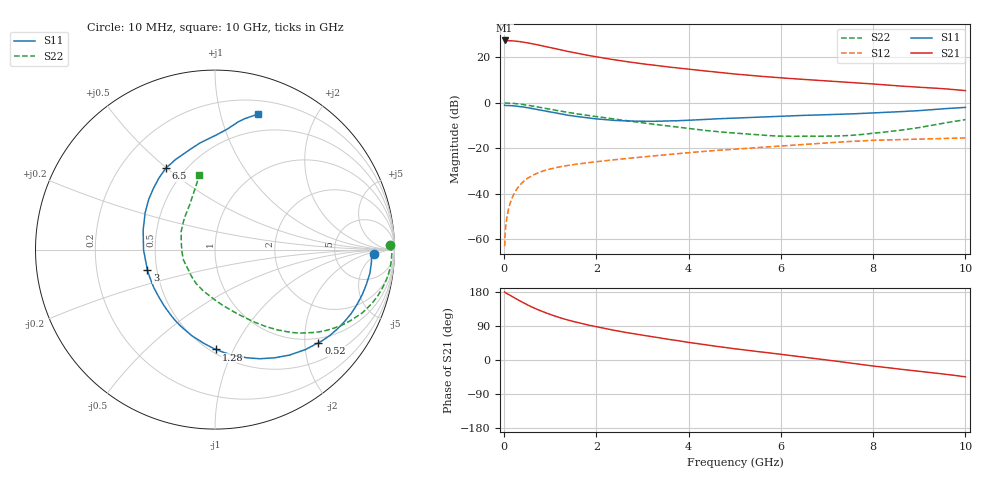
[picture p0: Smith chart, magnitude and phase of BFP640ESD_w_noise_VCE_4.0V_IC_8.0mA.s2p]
! Infineon Technologies  Discrete & RF Semiconductors
! BFP640ESD
! VCE =  4.0 V,  IC =  8.0 mA
! Common Emitter S-Parameters:  Jan 2016
# GHz  S  MA  R  50
!  f  S11  S21  S12  S22
! GHz  MAG  ANG  MAG  ANG  MAG  ANG  MAG  ANG
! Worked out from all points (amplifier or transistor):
!   233 points, 10 MHz to 10 GHz, reference 50 ohm
!   highest |S21| = 27.4 dB at 10 MHz (marker M1)
!   |S21| within 3 dB of that: start of sweep to 969.7 MHz
!   unconditionally stable (mu >= 1): start of sweep to 14.61 MHz; 4.284 GHz to 8.851 GHz
!   at 200 MHz: K = 0.16, MSG = 33.9 dB, |S12| = -40.6 dB
!   at 1.74 GHz: K = 0.63, MSG = 23.9 dB, |S12| = -26.6 dB
!   at 10 GHz: K = 0.85, MSG = 10.4 dB, |S12| = -15.5 dB
!   lowest NFmin = 0.63 dB at 450 MHz
!   S11 on the Smith chart (normalised r, x): 10 MHz: 15, -4; 520 MHz: 0.89, -2.31; 1.28 GHz: 0.53, -0.86; 3 GHz: 0.44, -0.12; 6.5 GHz: 0.39, +0.50; 10 GHz: 0.32, +1.31
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0.01  0.8843 -1.7  23.56 179.5  0.0007 -16.3  0.9746 1.4
0.045  0.8742 -4.0  23.27 176.3  0.0024 63.8  0.9849 -2.2
0.155  0.8653 -13.0  23.16 168.9  0.0073 77.0  0.9762 -7.8
0.3  0.8384 -25.1  22.47 158.7  0.0137 73.4  0.9485 -14.8
0.4  0.8124 -33.0  21.74 152.1  0.0178 69.8  0.9207 -19.4
0.52  0.7755 -42.0  20.73 144.6  0.0222 66.1  0.8824 -24.3
0.7  0.7189 -54.9  19.14 134.4  0.0278 60.8  0.821 -31.0
0.84  0.6743 -63.8  17.8 127.4  0.0315 57.4  0.7734 -35.3
1.1  0.601 -79.6  15.61 115.9  0.0371 52.5  0.6911 -42.2
1.28  0.5565 -89.4  14.25 109.1  0.0403 50.0  0.6412 -46.3
1.4  0.5306 -95.7  13.41 104.8  0.0421 48.7  0.6103 -48.6
1.68  0.4829 -108.9  11.78 96.2  0.0461 46.3  0.5512 -53.3
2.2  0.424 -131.5  9.489 82.6  0.0532 43.6  0.4652 -60.9
2.6  0.4016 -148.2  8.211 73.5  0.0587 41.9  0.4082 -67.0
3  0.3939 -163.0  7.22 65.3  0.0643 40.5  0.3619 -73.2
3.4  0.3946 -176.7  6.432 57.8  0.0703 38.9  0.3233 -80.0
4  0.4147 164.9  5.499 46.4  0.08 36.1  0.2728 -92.3
5.1  0.4669 141.2  4.215 28.2  0.0971 29.1  0.2121 -121.4
6.5  0.5294 121.2  3.271 7.5  0.1212 19.8  0.1852 -162.5
6.8  0.5392 116.7  3.124 3.0  0.1271 17.4  0.1837 -170.4
8.4  0.6247 91.9  2.415 -21.6  0.1536 1.2  0.2361 137.9
10  0.792 72.4  1.856 -44.4  0.1686 -13.5  0.4267 101.7
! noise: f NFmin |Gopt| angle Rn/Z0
0.45  0.63  0.26  9  0.1
0.9  0.65  0.24  22  0.11
1.9  0.69  0.18  38  0.11
2.4  0.73  0.14  55  0.1
5.5  1.02  0.32  -137  0.13
10  1.86  0.6  -80  0.73
